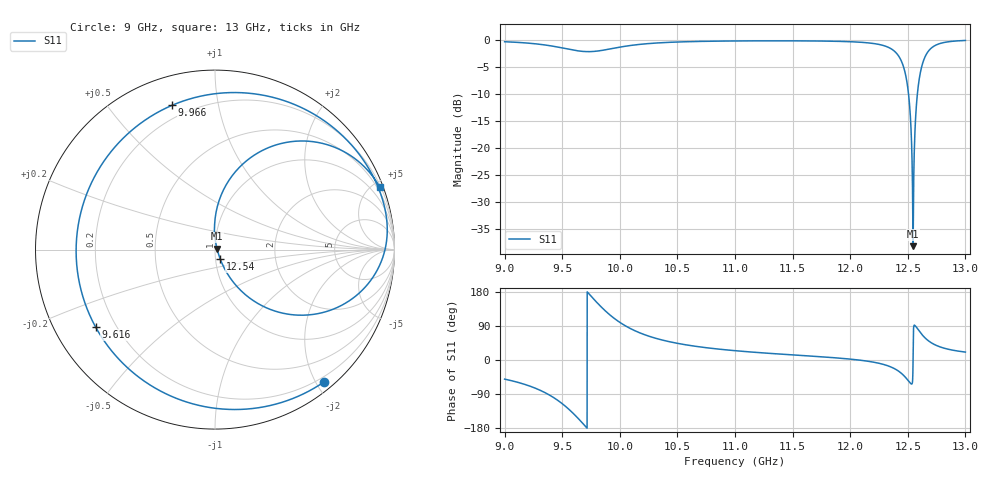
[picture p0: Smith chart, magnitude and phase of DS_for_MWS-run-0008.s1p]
! TOUCHSTONE file generated by CST DESIGN STUDIO
! Date and time: Tue Feb  4 17:24:15 2025
! Project name: C:\Work\MatlabApps\UnitCellOptimizationMatlab\CST\unitcell.cst
! Tree item: Tasks\Sweep1\SPara1\S-Parameters
! Header version: 2024
! Port assignment regex: !\s*Touchstone port\s*([0-9]+)\s*=\s*(CST MWS port|CST DES external port|CST DES block port)\s*(.+)\s* \(\"(.*)\"\)(\s*mode\s*([0-9]+))?.*
! Touchstone port assignment:
! Touchstone port 1 = CST DES external port 1 ("")
# GHz S MA R 50
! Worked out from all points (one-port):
!   4001 points, 9 GHz to 13 GHz, reference 50 ohm
!   lowest |S11| = -38.2 dB at 12.55 GHz (marker M1), VSWR 1.02, Z = 51.1 + j0.558 ohm
!   |S11| at or under -10 dB: 12.51 GHz to 12.58 GHz (77.36 MHz wide, 0.617 % of centre)
!   S11 on the Smith chart (normalised r, x): 9 GHz: 0.13, -2.12; 9.616 GHz: 0.13, -0.29; 9.966 GHz: 0.14, +0.74; 12.54 GHz: 1.05, -0.11; 13 GHz: 0.28, +5.41
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9  0.9553 -50.5
9.259  0.9159 -73.5
9.394  0.8776 -93.3
9.5  0.8374 -115.2
9.616  0.7929 -147.0
9.694  0.7754 -172.4
9.768  0.7763 162.6
9.869  0.8023 131.1
9.966  0.8388 106.6
10  0.8514 99.3
10.227  0.9143 65.5
10.5  0.9496 44.0
11  0.971 24.6
11.5  0.9737 13.5
12  0.9555 2.4
12.339  0.8404 -16.6
12.443  0.6373 -34.8
12.5  0.3574 -53.0
12.516  0.244 -59.0
12.53  0.1335 -63.2
12.539  0.05876 -60.9
12.546  0.01232 26.3
12.559  0.1144 91.6
12.574  0.2411 86.9
12.59  0.366 80.2
12.647  0.6826 59.2
12.777  0.918 34.9
13  0.9815 20.9
